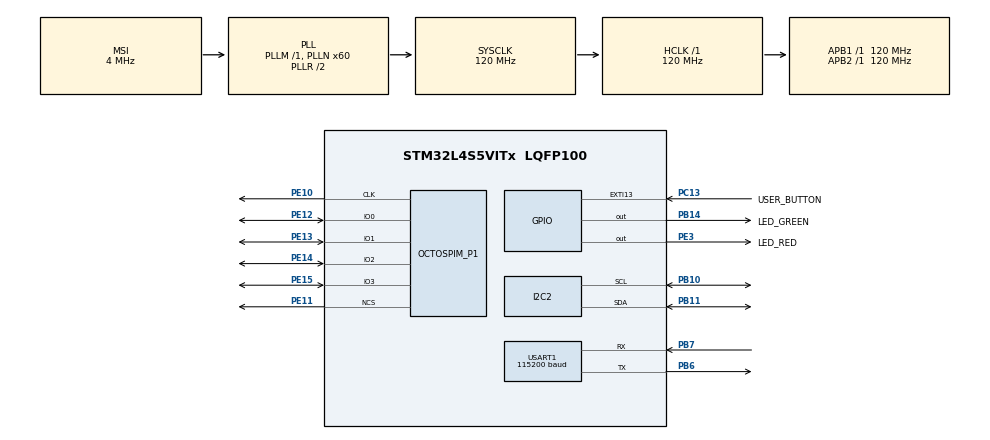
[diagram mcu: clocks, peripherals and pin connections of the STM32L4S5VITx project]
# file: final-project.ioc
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Dma.Request0=USART1_TX
Dma.USART1_TX.0.Direction=DMA_MEMORY_TO_PERIPH
Dma.USART1_TX.0.EventEnable=DISABLE
Dma.USART1_TX.0.Instance=DMA1_Channel2
Dma.USART1_TX.0.MemDataAlignment=DMA_MDATAALIGN_BYTE
Dma.USART1_TX.0.MemInc=DMA_MINC_ENABLE
Dma.USART1_TX.0.Mode=DMA_NORMAL
Dma.USART1_TX.0.PeriphDataAlignment=DMA_PDATAALIGN_BYTE
Dma.USART1_TX.0.PeriphInc=DMA_PINC_DISABLE
Dma.USART1_TX.0.Polarity=HAL_DMAMUX_REQUEST_GEN_RISING
Dma.USART1_TX.0.Priority=DMA_PRIORITY_LOW
Dma.USART1_TX.0.RequestNumber=1
Dma.USART1_TX.0.SignalID=NONE
Dma.USART1_TX.0.SyncEnable=DISABLE
Dma.USART1_TX.0.SyncPolarity=HAL_DMAMUX_SYNC_NO_EVENT
Dma.USART1_TX.0.SyncRequestNumber=1
Dma.USART1_TX.0.SyncSignalID=NONE
FREERTOS.Tasks01=engineTask,0,128,StartEngineTask,Default,NULL,Dynamic,NULL,NULL;outputTask,-3,128,StartOutputTask,Default,NULL,Dynamic,NULL,NULL
FREERTOS.configUSE_COUNTING_SEMAPHORES=1
FREERTOS.configUSE_TIMERS=1
I2C2.Timing=0x307075B1
Mcu.Family=STM32L4
Mcu.Name=STM32L4S5VITx
Mcu.Package=LQFP100
NVIC.DMA1_Channel2_IRQn=true\:5\:0\:false\:false\:true\:true\:false\:true\:true
NVIC.EXTI15_10_IRQn=true\:5\:0\:false\:false\:true\:true\:true\:true\:true
NVIC.PriorityGroup=NVIC_PRIORITYGROUP_4
NVIC.TIM3_IRQn=true\:5\:0\:false\:false\:true\:true\:true\:true\:true
NVIC.TIM6_DAC_IRQn=true\:15\:0\:false\:false\:true\:false\:false\:true\:true
NVIC.TimeBase=TIM6_DAC_IRQn
NVIC.TimeBaseIP=TIM6
NVIC.USART1_IRQn=true\:5\:0\:false\:false\:true\:true\:true\:true\:true
PA13\ (JTMS/SWDIO).Signal=SYS_JTMS-SWDIO
PB10.Mode=I2C
PB10.Signal=I2C2_SCL
PB11.Mode=I2C
PB11.Signal=I2C2_SDA
PB14.GPIO_Label=LED_GREEN
PB14.Signal=GPIO_Output
PB3\ (JTDO/TRACESWO).Signal=SYS_JTDO-SWO
PB6.Mode=Asynchronous
PB6.Signal=USART1_TX
PB7.Mode=Asynchronous
PB7.Signal=USART1_RX
PC13.GPIO_Label=USER_BUTTON
PC13.Signal=GPXTI13
PE10.Mode=O1_P1_CLK
PE10.Signal=OCTOSPIM_P1_CLK
PE11.Mode=OCTOSPI1_Port1_NCS
PE11.Signal=OCTOSPIM_P1_NCS
PE12.Mode=OCTOSPI1_IOL_Port1L
PE12.Signal=OCTOSPIM_P1_IO0
PE13.Mode=OCTOSPI1_IOL_Port1L
PE13.Signal=OCTOSPIM_P1_IO1
PE14.Mode=OCTOSPI1_IOL_Port1L
PE14.Signal=OCTOSPIM_P1_IO2
PE15.Mode=OCTOSPI1_IOL_Port1L
PE15.Signal=OCTOSPIM_P1_IO3
PE3.GPIO_Label=LED_RED
PE3.Signal=GPIO_Output
ProjectManager.HeapSize=0x200
ProjectManager.StackSize=0x400
ProjectManager.TargetToolchain=STM32CubeIDE
RCC.ADCFreq_Value=48000000
RCC.AHBFreq_Value=120000000
RCC.APB1Freq_Value=120000000
RCC.APB1TimFreq_Value=120000000
RCC.APB2Freq_Value=120000000
RCC.APB2TimFreq_Value=120000000
RCC.CortexFreq_Value=120000000
RCC.HCLKFreq_Value=120000000
RCC.HSE_VALUE=8000000
RCC.HSI48_VALUE=48000000
RCC.HSI_VALUE=16000000
RCC.LSE_VALUE=32768
RCC.MSI_VALUE=4000000
RCC.PLLN=60
RCC.PLLSAI1N=24
RCC.SYSCLKFreq_VALUE=120000000
RCC.SYSCLKSource=RCC_SYSCLKSOURCE_PLLCLK
RCC.USBFreq_Value=48000000
RCC.VCOOutputFreq_Value=240000000
TIM2.Period=2721
TIM2.TIM_MasterOutputTrigger=TIM_TRGO_UPDATE
TIM3.Period=1200
TIM3.Prescaler=1000
TIM3.TIM_MasterOutputTrigger=TIM_TRGO_UPDATE
USART1.BaudRate=115200
USART1.VirtualMode-Asynchronous=VM_ASYNC
VP_FREERTOS_VS_CMSIS_V1.Mode=CMSIS_V1
VP_OCTOSPI1_VS_quad.Mode=quad_mode
VP_SYS_VS_tim6.Mode=TIM6
VP_TIM2_VS_ClockSourceINT.Mode=Internal
VP_TIM3_VS_ClockSourceINT.Mode=Internal
board=B-L4S5I-IOT01A

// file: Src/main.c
/* USER CODE BEGIN Header */
/**
  ******************************************************************************
  * @file           : main.c
  * @brief          : Main program body
  ******************************************************************************
  * @attention
  *
  * Copyright (c) 2022 STMicroelectronics.
  * All rights reserved.
  *
  * This software is licensed under terms that can be found in the LICENSE file
  * in the root directory of this software component.
  * If no LICENSE file comes with this software, it is provided AS-IS.
  *
  ******************************************************************************
  */
/* USER CODE END Header */
#include "main.h"
#include "cmsis_os.h"

/* USER CODE BEGIN Includes */
#include "flash_config.h"
#include "uart_output.h"
#include "sensor_fusion.h"
#include "game_engine.h"
/* USER CODE END Includes */

I2C_HandleTypeDef hi2c2;

OSPI_HandleTypeDef hospi1;

TIM_HandleTypeDef htim2;
TIM_HandleTypeDef htim3;

UART_HandleTypeDef huart1;
DMA_HandleTypeDef hdma_usart1_tx;

osThreadId engineTaskHandle;
osThreadId outputTaskHandle;
/* USER CODE BEGIN PV */
// button flags
uint32_t _buttonWentDownSV;
volatile bool _buttonWentDown = false;

// game objects
uint32_t _gameObjectsSV;
game_objects _gameObjects;

// UART flags
uint32_t _uartReadySV;
volatile bool _uartReady = true;

int _num_transmissions = 0;
/* USER CODE END PV */

void SystemClock_Config(void);
static void MX_GPIO_Init(void);
static void MX_DMA_Init(void);
static void MX_I2C2_Init(void);
static void MX_USART1_UART_Init(void);
static void MX_OCTOSPI1_Init(void);
static void MX_TIM2_Init(void);
static void MX_TIM3_Init(void);
void StartEngineTask(void const * argument);
void StartOutputTask(void const * argument);

int main(void)
{

  /* MCU Configuration--------------------------------------------------------*/

  /* Reset of all peripherals, Initializes the Flash interface and the Systick. */
  HAL_Init();

  /* Configure the system clock */
  SystemClock_Config();

  /* USER CODE BEGIN SysInit */
  disableSharedVariables();
#if (IS_MODE_RTOS())
  {
    osSemaphoreDef(buttonWentDown);
    _buttonWentDownSV = createSharedVariable(1, &_buttonWentDown, osSemaphore(buttonWentDown));
    osSemaphoreDef(gameObjects);
    _gameObjectsSV = createSharedVariable(1, &_gameObjects, osSemaphore(gameObjects));
    osSemaphoreDef(uartReady);
    _uartReadySV = createSharedVariable(1, &_uartReady, osSemaphore(uartReady));
  }
#else
  {
    _buttonWentDownSV = createSharedVariable(1, &_buttonWentDown, NULL);
    _gameObjectsSV = createSharedVariable(1, &_gameObjects, NULL);
    _uartReadySV = createSharedVariable(1, &_uartReady, NULL);
  }
#endif
  /* USER CODE END SysInit */

  /* Initialize all configured peripherals */
  MX_GPIO_Init();
  MX_DMA_Init();
  MX_I2C2_Init();
  MX_USART1_UART_Init();
  MX_OCTOSPI1_Init();
  MX_TIM2_Init();
  MX_TIM3_Init();
  /* USER CODE BEGIN 2 */
  // fetch configuration from flash
  initFlash();
  readConfiguration();
  bool reconfigurationRequested = !isConfigurationValid() || is_user_btn_down();

  // initialization
#if (IS_MODE_ENGINE())
  {
    initEngine(reconfigurationRequested, &_gameObjects);
  }
#elif (IS_MODE_INPUT())
  {
    initInput(reconfigurationRequested);
  }
#elif (IS_MODE_OUTPUT())
  {
    initOutput(reconfigurationRequested, &huart1, &_gameObjects);
  }
#elif (IS_MODE_RTOS() || IS_MODE_SERIAL())
  {
    initEngine(reconfigurationRequested, &_gameObjects);
    initInput(reconfigurationRequested);
    initOutput(reconfigurationRequested, &huart1, &_gameObjects);
  }
#endif

  if (reconfigurationRequested)
  {
    writeConfiguration();
  }

  // start timer interrupts
  HAL_TIM_Base_Start_IT(&htim2);
  HAL_TIM_Base_Start_IT(&htim3);

  // turn red LED off
  led_red_off();

  // start testing mode
#if (IS_MODE_ENGINE())
  {
    StartEngineTask(NULL);
  }
#elif (IS_MODE_INPUT())
  {
    for (;;)
    {
      float vals[3];
      fusion_get_euler(vals, 0);
    }
  }
#elif (IS_MODE_OUTPUT())
  {
    StartOutputTask(NULL);
  }

  // start RTOS
#elif (IS_MODE_RTOS())
  {
  /* USER CODE END 2 */

  /* USER CODE BEGIN RTOS_SEMAPHORES */
  /* add semaphores, ... */
  enableSharedVariables();
  /* USER CODE END RTOS_SEMAPHORES */

  /* Create the thread(s) */
  /* definition and creation of engineTask */
  osThreadDef(engineTask, StartEngineTask, osPriorityNormal, 0, 128);
  engineTaskHandle = osThreadCreate(osThread(engineTask), NULL);

  /* definition and creation of outputTask */
  osThreadDef(outputTask, StartOutputTask, osPriorityIdle, 0, 128);
  outputTaskHandle = osThreadCreate(osThread(outputTask), NULL);

  /* Start scheduler */
  osKernelStart();

  /* We should never get here as control is now taken by the scheduler */
  /* Infinite loop */
  /* USER CODE BEGIN WHILE */
  } // IS_MODE_RTOS()
#elif (IS_MODE_SERIAL())
  {
    while (1)
    {
    /* USER CODE END WHILE */

    /* USER CODE BEGIN 3 */
      // delay
      delay(1000 / REFRESH_RATE);

      // determine if button pressed
      float pEulerData[3];
      fusion_get_euler(pEulerData, 0);
      updateGame(_gameObjectsSV, _buttonWentDown, pEulerData[1]);
      _buttonWentDown = false;
      ITM_Port32(31) = ITM_GAME_UPDATE;

      // update and transmit buffer
      updateBuffer(_gameObjectsSV);
      transmitBufferNonDMA();
      HAL_UART_TxCpltCallback(&huart1);
    }
  } // IS_MODE_SERIAL
#endif
  /* USER CODE END 3 */
}

void SystemClock_Config(void)
{
  RCC_OscInitTypeDef RCC_OscInitStruct = {0};
  RCC_ClkInitTypeDef RCC_ClkInitStruct = {0};

  /** Configure the main internal regulator output voltage
  */
  if (HAL_PWREx_ControlVoltageScaling(PWR_REGULATOR_VOLTAGE_SCALE1_BOOST) != HAL_OK)
  {
    Error_Handler();
  }

  /** Initializes the RCC Oscillators according to the specified parameters
  * in the RCC_OscInitTypeDef structure.
  */
  RCC_OscInitStruct.OscillatorType = RCC_OSCILLATORTYPE_MSI;
  RCC_OscInitStruct.MSIState = RCC_MSI_ON;
  RCC_OscInitStruct.MSICalibrationValue = 0;
  RCC_OscInitStruct.MSIClockRange = RCC_MSIRANGE_6;
  RCC_OscInitStruct.PLL.PLLState = RCC_PLL_ON;
  RCC_OscInitStruct.PLL.PLLSource = RCC_PLLSOURCE_MSI;
  RCC_OscInitStruct.PLL.PLLM = 1;
  RCC_OscInitStruct.PLL.PLLN = 60;
  RCC_OscInitStruct.PLL.PLLP = RCC_PLLP_DIV2;
  RCC_OscInitStruct.PLL.PLLQ = RCC_PLLQ_DIV2;
  RCC_OscInitStruct.PLL.PLLR = RCC_PLLR_DIV2;
  if (HAL_RCC_OscConfig(&RCC_OscInitStruct) != HAL_OK)
  {
    Error_Handler();
  }

  /** Initializes the CPU, AHB and APB buses clocks
  */
  RCC_ClkInitStruct.ClockType = RCC_CLOCKTYPE_HCLK|RCC_CLOCKTYPE_SYSCLK
                              |RCC_CLOCKTYPE_PCLK1|RCC_CLOCKTYPE_PCLK2;
  RCC_ClkInitStruct.SYSCLKSource = RCC_SYSCLKSOURCE_PLLCLK;
  RCC_ClkInitStruct.AHBCLKDivider = RCC_SYSCLK_DIV1;
  RCC_ClkInitStruct.APB1CLKDivider = RCC_HCLK_DIV1;
  RCC_ClkInitStruct.APB2CLKDivider = RCC_HCLK_DIV1;

  if (HAL_RCC_ClockConfig(&RCC_ClkInitStruct, FLASH_LATENCY_5) != HAL_OK)
  {
    Error_Handler();
  }
}

static void MX_I2C2_Init(void)
{

  hi2c2.Instance = I2C2;
  hi2c2.Init.Timing = 0x307075B1;
  hi2c2.Init.OwnAddress1 = 0;
  hi2c2.Init.AddressingMode = I2C_ADDRESSINGMODE_7BIT;
  hi2c2.Init.DualAddressMode = I2C_DUALADDRESS_DISABLE;
  hi2c2.Init.OwnAddress2 = 0;
  hi2c2.Init.OwnAddress2Masks = I2C_OA2_NOMASK;
  hi2c2.Init.GeneralCallMode = I2C_GENERALCALL_DISABLE;
  hi2c2.Init.NoStretchMode = I2C_NOSTRETCH_DISABLE;
  if (HAL_I2C_Init(&hi2c2) != HAL_OK)
  {
    Error_Handler();
  }

  /** Configure Analogue filter
  */
  if (HAL_I2CEx_ConfigAnalogFilter(&hi2c2, I2C_ANALOGFILTER_ENABLE) != HAL_OK)
  {
    Error_Handler();
  }

  /** Configure Digital filter
  */
  if (HAL_I2CEx_ConfigDigitalFilter(&hi2c2, 0) != HAL_OK)
  {
    Error_Handler();
  }

}

static void MX_OCTOSPI1_Init(void)
{

  OSPIM_CfgTypeDef OSPIM_Cfg_Struct = {0};

  /* OCTOSPI1 parameter configuration*/
  hospi1.Instance = OCTOSPI1;
  hospi1.Init.FifoThreshold = 1;
  hospi1.Init.DualQuad = HAL_OSPI_DUALQUAD_DISABLE;
  hospi1.Init.MemoryType = HAL_OSPI_MEMTYPE_MICRON;
  hospi1.Init.DeviceSize = 32;
  hospi1.Init.ChipSelectHighTime = 1;
  hospi1.Init.FreeRunningClock = HAL_OSPI_FREERUNCLK_DISABLE;
  hospi1.Init.ClockMode = HAL_OSPI_CLOCK_MODE_0;
  hospi1.Init.ClockPrescaler = 1;
  hospi1.Init.SampleShifting = HAL_OSPI_SAMPLE_SHIFTING_NONE;
  hospi1.Init.DelayHoldQuarterCycle = HAL_OSPI_DHQC_DISABLE;
  hospi1.Init.ChipSelectBoundary = 0;
  hospi1.Init.DelayBlockBypass = HAL_OSPI_DELAY_BLOCK_BYPASSED;
  if (HAL_OSPI_Init(&hospi1) != HAL_OK)
  {
    Error_Handler();
  }
  OSPIM_Cfg_Struct.ClkPort = 1;
  OSPIM_Cfg_Struct.NCSPort = 1;
  OSPIM_Cfg_Struct.IOLowPort = HAL_OSPIM_IOPORT_1_LOW;
  if (HAL_OSPIM_Config(&hospi1, &OSPIM_Cfg_Struct, HAL_OSPI_TIMEOUT_DEFAULT_VALUE) != HAL_OK)
  {
    Error_Handler();
  }

}

static void MX_TIM2_Init(void)
{

  TIM_ClockConfigTypeDef sClockSourceConfig = {0};
  TIM_MasterConfigTypeDef sMasterConfig = {0};

  htim2.Instance = TIM2;
  htim2.Init.Prescaler = 0;
  htim2.Init.CounterMode = TIM_COUNTERMODE_UP;
  htim2.Init.Period = 2721;
  htim2.Init.ClockDivision = TIM_CLOCKDIVISION_DIV1;
  htim2.Init.AutoReloadPreload = TIM_AUTORELOAD_PRELOAD_DISABLE;
  if (HAL_TIM_Base_Init(&htim2) != HAL_OK)
  {
    Error_Handler();
  }
  sClockSourceConfig.ClockSource = TIM_CLOCKSOURCE_INTERNAL;
  if (HAL_TIM_ConfigClockSource(&htim2, &sClockSourceConfig) != HAL_OK)
  {
    Error_Handler();
  }
  sMasterConfig.MasterOutputTrigger = TIM_TRGO_UPDATE;
  sMasterConfig.MasterSlaveMode = TIM_MASTERSLAVEMODE_DISABLE;
  if (HAL_TIMEx_MasterConfigSynchronization(&htim2, &sMasterConfig) != HAL_OK)
  {
    Error_Handler();
  }

}

static void MX_TIM3_Init(void)
{

  TIM_ClockConfigTypeDef sClockSourceConfig = {0};
  TIM_MasterConfigTypeDef sMasterConfig = {0};

  htim3.Instance = TIM3;
  htim3.Init.Prescaler = 1000;
  htim3.Init.CounterMode = TIM_COUNTERMODE_UP;
  htim3.Init.Period = 1200;
  htim3.Init.ClockDivision = TIM_CLOCKDIVISION_DIV1;
  htim3.Init.AutoReloadPreload = TIM_AUTORELOAD_PRELOAD_DISABLE;
  if (HAL_TIM_Base_Init(&htim3) != HAL_OK)
  {
    Error_Handler();
  }
  sClockSourceConfig.ClockSource = TIM_CLOCKSOURCE_INTERNAL;
  if (HAL_TIM_ConfigClockSource(&htim3, &sClockSourceConfig) != HAL_OK)
  {
    Error_Handler();
  }
  sMasterConfig.MasterOutputTrigger = TIM_TRGO_UPDATE;
  sMasterConfig.MasterSlaveMode = TIM_MASTERSLAVEMODE_DISABLE;
  if (HAL_TIMEx_MasterConfigSynchronization(&htim3, &sMasterConfig) != HAL_OK)
  {
    Error_Handler();
  }

}

static void MX_USART1_UART_Init(void)
{

  huart1.Instance = USART1;
  huart1.Init.BaudRate = 115200;
  huart1.Init.WordLength = UART_WORDLENGTH_8B;
  huart1.Init.StopBits = UART_STOPBITS_1;
  huart1.Init.Parity = UART_PARITY_NONE;
  huart1.Init.Mode = UART_MODE_TX_RX;
  huart1.Init.HwFlowCtl = UART_HWCONTROL_NONE;
  huart1.Init.OverSampling = UART_OVERSAMPLING_16;
  huart1.Init.OneBitSampling = UART_ONE_BIT_SAMPLE_DISABLE;
  huart1.Init.ClockPrescaler = UART_PRESCALER_DIV1;
  huart1.AdvancedInit.AdvFeatureInit = UART_ADVFEATURE_NO_INIT;
  if (HAL_UART_Init(&huart1) != HAL_OK)
  {
    Error_Handler();
  }
  if (HAL_UARTEx_SetTxFifoThreshold(&huart1, UART_TXFIFO_THRESHOLD_1_8) != HAL_OK)
  {
    Error_Handler();
  }
  if (HAL_UARTEx_SetRxFifoThreshold(&huart1, UART_RXFIFO_THRESHOLD_1_8) != HAL_OK)
  {
    Error_Handler();
  }
  if (HAL_UARTEx_DisableFifoMode(&huart1) != HAL_OK)
  {
    Error_Handler();
  }

}

static void MX_DMA_Init(void)
{

  /* DMA controller clock enable */
  __HAL_RCC_DMAMUX1_CLK_ENABLE();
  __HAL_RCC_DMA1_CLK_ENABLE();

  /* DMA interrupt init */
  /* DMA1_Channel2_IRQn interrupt configuration */
  HAL_NVIC_SetPriority(DMA1_Channel2_IRQn, 5, 0);
  HAL_NVIC_EnableIRQ(DMA1_Channel2_IRQn);

}

static void MX_GPIO_Init(void)
{
  GPIO_InitTypeDef GPIO_InitStruct = {0};

  /* GPIO Ports Clock Enable */
  __HAL_RCC_GPIOE_CLK_ENABLE();
  __HAL_RCC_GPIOC_CLK_ENABLE();
  __HAL_RCC_GPIOB_CLK_ENABLE();
  __HAL_RCC_GPIOA_CLK_ENABLE();

  /*Configure GPIO pin Output Level */
  HAL_GPIO_WritePin(LED_RED_GPIO_Port, LED_RED_Pin, GPIO_PIN_RESET);

  /*Configure GPIO pin Output Level */
  HAL_GPIO_WritePin(LED_GREEN_GPIO_Port, LED_GREEN_Pin, GPIO_PIN_RESET);

  /*Configure GPIO pin : LED_RED_Pin */
  GPIO_InitStruct.Pin = LED_RED_Pin;
  GPIO_InitStruct.Mode = GPIO_MODE_OUTPUT_PP;
  GPIO_InitStruct.Pull = GPIO_NOPULL;
  GPIO_InitStruct.Speed = GPIO_SPEED_FREQ_LOW;
  HAL_GPIO_Init(LED_RED_GPIO_Port, &GPIO_InitStruct);

  /*Configure GPIO pin : USER_BUTTON_Pin */
  GPIO_InitStruct.Pin = USER_BUTTON_Pin;
  GPIO_InitStruct.Mode = GPIO_MODE_IT_RISING;
  GPIO_InitStruct.Pull = GPIO_NOPULL;
  HAL_GPIO_Init(USER_BUTTON_GPIO_Port, &GPIO_InitStruct);

  /*Configure GPIO pin : LED_GREEN_Pin */
  GPIO_InitStruct.Pin = LED_GREEN_Pin;
  GPIO_InitStruct.Mode = GPIO_MODE_OUTPUT_PP;
  GPIO_InitStruct.Pull = GPIO_NOPULL;
  GPIO_InitStruct.Speed = GPIO_SPEED_FREQ_LOW;
  HAL_GPIO_Init(LED_GREEN_GPIO_Port, &GPIO_InitStruct);

  /* EXTI interrupt init*/
  HAL_NVIC_SetPriority(EXTI15_10_IRQn, 5, 0);
  HAL_NVIC_EnableIRQ(EXTI15_10_IRQn);

}

/* USER CODE BEGIN 4 */

// delay
void delay(uint32_t delay)
{
#if (IS_MODE_RTOS())
  osDelay(delay);
#else
  HAL_Delay(delay);
#endif
}

// wrapper function to handle HAL errors
void hal_exec(uint8_t HAL_Status)
{
  if (HAL_Status != HAL_OK) Error_Handler();
}

// determine if the user button is pressed
bool is_user_btn_down()
{
  return HAL_GPIO_ReadPin(USER_BUTTON_GPIO_Port, USER_BUTTON_Pin) == GPIO_PIN_RESET;
}

// determine if the user button is released
bool is_user_btn_up()
{
  return HAL_GPIO_ReadPin(USER_BUTTON_GPIO_Port, USER_BUTTON_Pin) == GPIO_PIN_SET;
}

// generate sine wave data in the buffer
void gen_sine(uint32_t *buf, uint32_t buf_size, float sine_step, uint32_t dac_max)
{
	uint32_t dac_offset = dac_max / 2;
	float sine_x = 0.0;
	for (int i = 0; i < buf_size; i++)
	{
		buf[i] = (uint32_t)(arm_sin_f32(sine_x) * dac_offset + dac_offset);
		sine_x += sine_step;
	}
}

void led_green_on()
{
	HAL_GPIO_WritePin(LED_GREEN_GPIO_Port, LED_GREEN_Pin, GPIO_PIN_SET);
}

void led_green_off()
{
	HAL_GPIO_WritePin(LED_GREEN_GPIO_Port, LED_GREEN_Pin, GPIO_PIN_RESET);
}

void led_red_on()
{
	HAL_GPIO_WritePin(LED_RED_GPIO_Port, LED_RED_Pin, GPIO_PIN_RESET);
}

void led_red_off()
{
	HAL_GPIO_WritePin(LED_RED_GPIO_Port, LED_RED_Pin, GPIO_PIN_SET);
}

void HAL_GPIO_EXTI_Callback(uint16_t GPIO_Pin)
{
  if (GPIO_Pin == USER_BUTTON_Pin && is_user_btn_up())
  {
    // do something when USER_BUTTON is released
    lockSharedVariable(_buttonWentDownSV, IRQ_TIMEOUT);
    _buttonWentDown = true;
    releaseSharedVariable(_buttonWentDownSV);
  }
}

void HAL_UART_TxCpltCallback(UART_HandleTypeDef *huart)
{
  if (huart->Instance == USART1) {
    ITM_Port32(31) = ITM_UART_DONE;
    ++_num_transmissions;
    // indicate that DMA transmission has completed
    lockSharedVariable(_uartReadySV, IRQ_TIMEOUT);
    _uartReady = true;
    releaseSharedVariable(_uartReadySV);
  }
}
/* USER CODE END 4 */

void StartEngineTask(void const * argument)
{
  /* USER CODE BEGIN 5 */
  bool buttonWentDown = false;
  /* Infinite loop */
  for(;;)
  {
    delay(500 / REFRESH_RATE);

    // determine if button pressed
    lockSharedVariable(_buttonWentDownSV, OS_TIMEOUT);
    buttonWentDown = _buttonWentDown;
    _buttonWentDown = false;
    releaseSharedVariable(_buttonWentDownSV);

    float pEulerData[3];
    fusion_get_euler(pEulerData, 0);
    updateGame(_gameObjectsSV, buttonWentDown, pEulerData[1]);
    ITM_Port32(31) = ITM_GAME_UPDATE;
  }
  /* USER CODE END 5 */
}

void StartOutputTask(void const * argument)
{
  /* USER CODE BEGIN StartOutputTask */
  bool uartReady = false;
  /* Infinite loop */
  for(;;)
  {
    // delay
    delay(1000 / REFRESH_RATE);

    // update buffer
    updateBuffer(_gameObjectsSV);

    // determine if UART is ready
    lockSharedVariable(_uartReadySV, OS_TIMEOUT);
    uartReady = _uartReady;
    _uartReady = false;
    releaseSharedVariable(_uartReadySV);

    // update buffer
    if (uartReady) {
      transmitBuffer();
    }
  }
  /* USER CODE END StartOutputTask */
}

void HAL_TIM_PeriodElapsedCallback(TIM_HandleTypeDef *htim)
{
  /* USER CODE BEGIN Callback 0 */
  if (htim->Instance == TIM3)
  {
    // TIM3 interrupt: sensor control
    fusion_update();
  }
  /* USER CODE END Callback 0 */
  if (htim->Instance == TIM6) {
    HAL_IncTick();
  }
}

void Error_Handler(void)
{
  /* USER CODE BEGIN Error_Handler_Debug */
  /* User can add his own implementation to report the HAL error return state */
  __disable_irq();
  HAL_GPIO_WritePin(LED_RED_GPIO_Port, LED_RED_Pin, GPIO_PIN_RESET);
  __BKPT();
  while (1)
  {
  }
  /* USER CODE END Error_Handler_Debug */
}

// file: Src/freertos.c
/* USER CODE BEGIN Header */
/**
  ******************************************************************************
  * File Name          : freertos.c
  * Description        : Code for freertos applications
  ******************************************************************************
  * @attention
  *
  * Copyright (c) 2022 STMicroelectronics.
  * All rights reserved.
  *
  * This software is licensed under terms that can be found in the LICENSE file
  * in the root directory of this software component.
  * If no LICENSE file comes with this software, it is provided AS-IS.
  *
  ******************************************************************************
  */
/* USER CODE END Header */

#include "FreeRTOS.h"
#include "task.h"
#include "main.h"

/* USER CODE BEGIN Variables */
bool semaphoresEnabled = false;
uint32_t activeSemaphores = 0;
shared_variable semaphores[NUM_SEMAPHORES] = {{NULL, NULL, NULL}};
/* USER CODE END Variables */

/* GetIdleTaskMemory prototype (linked to static allocation support) */
void vApplicationGetIdleTaskMemory( StaticTask_t **ppxIdleTaskTCBBuffer, StackType_t **ppxIdleTaskStackBuffer, uint32_t *pulIdleTaskStackSize );

/* GetTimerTaskMemory prototype (linked to static allocation support) */
void vApplicationGetTimerTaskMemory( StaticTask_t **ppxTimerTaskTCBBuffer, StackType_t **ppxTimerTaskStackBuffer, uint32_t *pulTimerTaskStackSize );

/* USER CODE BEGIN GET_IDLE_TASK_MEMORY */
static StaticTask_t xIdleTaskTCBBuffer;
static StackType_t xIdleStack[configMINIMAL_STACK_SIZE];

void vApplicationGetIdleTaskMemory( StaticTask_t **ppxIdleTaskTCBBuffer, StackType_t **ppxIdleTaskStackBuffer, uint32_t *pulIdleTaskStackSize )
{
  *ppxIdleTaskTCBBuffer = &xIdleTaskTCBBuffer;
  *ppxIdleTaskStackBuffer = &xIdleStack[0];
  *pulIdleTaskStackSize = configMINIMAL_STACK_SIZE;
  /* place for user code */
}
/* USER CODE END GET_IDLE_TASK_MEMORY */

/* USER CODE BEGIN GET_TIMER_TASK_MEMORY */
static StaticTask_t xTimerTaskTCBBuffer;
static StackType_t xTimerStack[configTIMER_TASK_STACK_DEPTH];

void vApplicationGetTimerTaskMemory( StaticTask_t **ppxTimerTaskTCBBuffer, StackType_t **ppxTimerTaskStackBuffer, uint32_t *pulTimerTaskStackSize )
{
  *ppxTimerTaskTCBBuffer = &xTimerTaskTCBBuffer;
  *ppxTimerTaskStackBuffer = &xTimerStack[0];
  *pulTimerTaskStackSize = configTIMER_TASK_STACK_DEPTH;
  /* place for user code */
}
/* USER CODE END GET_TIMER_TASK_MEMORY */

/* USER CODE BEGIN Application */
/**
 * Create a shared variable.
 * @param count the number of allowed concurrent accesses
 * @param var the pointer to the variable to share.
 * @returns the ID of the created variable, -1 if not created.
 */
uint32_t createSharedVariable(int32_t count, void *var, const osSemaphoreDef_t *semaphoreDef)
{
  if (activeSemaphores >= NUM_SEMAPHORES)
  {
    return -1;
  }

  shared_variable *sv = semaphores + activeSemaphores;
  if (semaphoreDef)
  {
    sv->semaphoreDef = semaphoreDef;
    sv->semaphoreHandle = osSemaphoreCreate(semaphoreDef, count);
  }

  sv->var = var;

  return activeSemaphores++;
}

/**
 * Get the ID of a shared variable.
 * @param var the pointer to the shared variable.
 * @returns the ID of the variable, -1 if it does not exist.
 */
uint32_t getSharedVariable(void *var)
{
  uint32_t i = 0;
  shared_variable *sv;
  while (i < NUM_SEMAPHORES)
  {
    sv = semaphores + i;
    if (sv->var && sv->var == var)
    {
      return i;
    }
    ++i;
  }

  return -1;
}

/**
 * Enable access control to shared variables.
 */
void enableSharedVariables()
{
  semaphoresEnabled = true;
}

/**
 * Disable access control to shared variables.
 */
void disableSharedVariables()
{
  semaphoresEnabled = false;
}

/**
 * Lock a shared variable.
 * @param idx the ID of the shared variable.
 * @param timeout the maximum time to wait to take the variable.
 * @returns the pointer to the shared variable, NULL if not successful.
 */
void *lockSharedVariable(uint32_t idx, uint32_t timeout)
{
  return idx < NUM_SEMAPHORES && (!semaphoresEnabled || osSemaphoreWait(semaphores[idx].semaphoreHandle, timeout) == osOK)
      ? semaphores[idx].var
      : NULL;
}

/**
 * Release a shared variable.
 * @param idx the ID of the shared variable.
 */
void releaseSharedVariable(uint32_t idx)
{
  if (semaphoresEnabled)
  {
    osSemaphoreRelease(semaphores[idx].semaphoreHandle);
  }
}

/**
 * Wrap a function that uses a shared variable.
 * @param idx the ID of the shared variable to pass into the function.
 * @param timeout the maximum time to wait for access to the variable.
 * @param func the function to execute after gaining access.
 */
void lockSharedVariableAndExecute(uint32_t idx, uint32_t timeout, locked_func func)
{
  void *var = lockSharedVariable(idx, timeout);
  if (var)
  {
    func(var);
    releaseSharedVariable(idx);
  }
}
/* USER CODE END Application */
